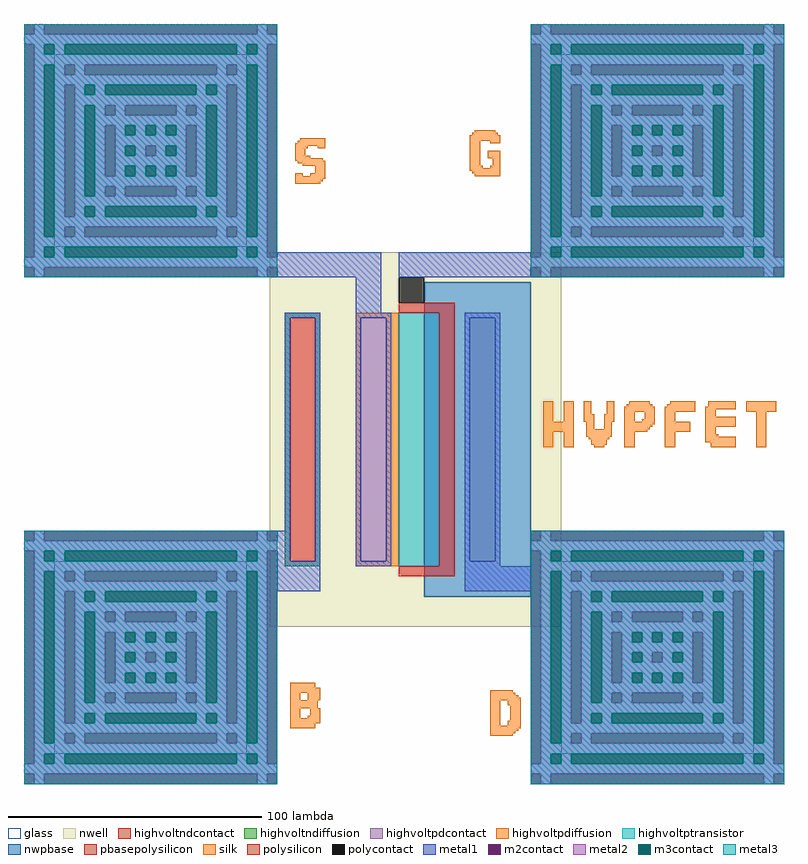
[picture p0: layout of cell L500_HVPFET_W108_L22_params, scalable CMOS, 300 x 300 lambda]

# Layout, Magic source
magic
tech scmos
<< nwell >>
rect 97 198 212 210
rect 97 74 158 198
rect 200 74 212 198
rect 97 62 212 74
<< polysilicon >>
rect 148 186 158 190
rect 148 82 158 86
<< pbasepolysilicon >>
rect 158 186 170 190
rect 164 86 170 186
rect 158 82 170 86
<< highvoltndiffusion >>
rect 103 184 117 186
rect 103 88 105 184
rect 115 88 117 184
rect 103 86 117 88
<< highvoltpdiffusion >>
rect 131 184 148 186
rect 131 88 133 184
rect 143 88 148 184
rect 131 86 148 88
<< metal1 >>
rect 100 200 141 210
rect 131 186 141 200
rect 148 200 200 210
rect 103 184 117 186
rect 103 100 105 184
rect 100 88 105 100
rect 115 88 117 184
rect 100 76 117 88
rect 131 184 145 186
rect 131 88 133 184
rect 143 88 145 184
rect 131 86 145 88
rect 174 184 188 186
rect 174 88 176 184
rect 186 88 188 184
rect 174 86 188 88
rect 174 76 200 86
<< highvoltptransistor >>
rect 148 86 164 186
<< nwpbase >>
rect 158 74 200 198
<< polycontact >>
rect 148 190 158 200
<< highvoltndcontact >>
rect 105 88 115 184
<< highvoltpdcontact >>
rect 133 88 143 184
rect 176 88 186 184
use L500_TPAD_blank  L500_TPAD_blank_2
transform 1 0 0 0 1 200
box 0 0 100 100
use L500_CHAR_s  L500_CHAR_s_0
transform 1 0 107 0 1 237
box 0 0 12 18
use L500_CHAR_g  L500_CHAR_g_0
transform 1 0 176 0 1 240
box 0 0 12 18
use L500_TPAD_blank  L500_TPAD_blank_3
transform 1 0 200 0 1 200
box 0 0 100 100
use L500_CHAR_h  L500_CHAR_h_0
transform 1 0 205 0 1 133
box 0 0 12 18
use L500_CHAR_v  L500_CHAR_v_0
transform 1 0 221 0 1 133
box 0 0 12 18
use L500_CHAR_p  L500_CHAR_p_0
transform 1 0 237 0 1 133
box 0 0 12 18
use L500_CHAR_f  L500_CHAR_f_0
transform 1 0 253 0 1 133
box 0 0 12 18
use L500_CHAR_e  L500_CHAR_e_0
transform 1 0 269 0 1 133
box 0 0 12 18
use L500_CHAR_t  L500_CHAR_t_0
transform 1 0 285 0 1 133
box 0 0 12 18
use L500_TPAD_blank  L500_TPAD_blank_0
transform 1 0 0 0 1 0
box 0 0 100 100
use L500_CHAR_b  L500_CHAR_b_0
transform 1 0 105 0 1 22
box 0 0 12 18
use L500_CHAR_d  L500_CHAR_d_0
transform 1 0 184 0 1 19
box 0 0 12 18
use L500_TPAD_blank  L500_TPAD_blank_1
transform 1 0 200 0 1 0
box 0 0 100 100
<< end >>

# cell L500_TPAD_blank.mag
magic
tech scmos
<< metal1 >>
rect 4 96 8 100
rect 92 96 96 100
rect 0 92 100 96
rect 4 84 96 92
rect 4 80 16 84
rect 20 80 24 84
rect 76 80 80 84
rect 84 80 96 84
rect 4 76 96 80
rect 4 24 16 76
rect 20 68 80 76
rect 20 64 32 68
rect 36 64 40 68
rect 60 64 64 68
rect 68 64 80 68
rect 20 60 80 64
rect 20 40 32 60
rect 36 52 64 60
rect 36 48 48 52
rect 52 48 64 52
rect 36 40 64 48
rect 68 40 80 60
rect 20 36 80 40
rect 20 32 32 36
rect 36 32 40 36
rect 60 32 64 36
rect 68 32 80 36
rect 20 24 80 32
rect 84 24 96 76
rect 4 20 96 24
rect 4 16 16 20
rect 20 16 24 20
rect 76 16 80 20
rect 84 16 96 20
rect 4 8 96 16
rect 0 4 100 8
rect 4 0 8 4
rect 92 0 96 4
<< metal2 >>
rect 4 96 8 100
rect 92 96 96 100
rect 0 92 100 96
rect 4 88 8 92
rect 12 88 16 92
rect 84 88 88 92
rect 92 88 96 92
rect 4 84 96 88
rect 4 16 8 84
rect 12 80 16 84
rect 20 80 24 84
rect 76 80 80 84
rect 84 80 88 84
rect 12 76 88 80
rect 12 24 16 76
rect 20 72 24 76
rect 28 72 32 76
rect 68 72 72 76
rect 76 72 80 76
rect 20 68 80 72
rect 20 32 24 68
rect 28 64 32 68
rect 36 64 40 68
rect 60 64 64 68
rect 68 64 72 68
rect 28 60 72 64
rect 28 40 32 60
rect 36 56 40 60
rect 44 56 48 60
rect 52 56 56 60
rect 60 56 64 60
rect 36 52 64 56
rect 36 48 40 52
rect 44 48 48 52
rect 52 48 56 52
rect 60 48 64 52
rect 36 44 64 48
rect 36 40 40 44
rect 44 40 48 44
rect 52 40 56 44
rect 60 40 64 44
rect 68 40 72 60
rect 28 36 72 40
rect 28 32 32 36
rect 36 32 40 36
rect 60 32 64 36
rect 68 32 72 36
rect 76 32 80 68
rect 20 28 80 32
rect 20 24 24 28
rect 28 24 32 28
rect 68 24 72 28
rect 76 24 80 28
rect 84 24 88 76
rect 12 20 88 24
rect 12 16 16 20
rect 20 16 24 20
rect 76 16 80 20
rect 84 16 88 20
rect 92 16 96 84
rect 4 12 96 16
rect 4 8 8 12
rect 12 8 16 12
rect 84 8 88 12
rect 92 8 96 12
rect 0 4 100 8
rect 4 0 8 4
rect 92 0 96 4
<< metal3 >>
rect 0 92 100 100
rect 0 88 8 92
rect 12 88 16 92
rect 84 88 88 92
rect 92 88 100 92
rect 0 84 100 88
rect 0 16 8 84
rect 12 76 88 84
rect 12 72 24 76
rect 28 72 32 76
rect 68 72 72 76
rect 76 72 88 76
rect 12 68 88 72
rect 12 32 24 68
rect 28 60 72 68
rect 28 56 40 60
rect 44 56 48 60
rect 52 56 56 60
rect 60 56 72 60
rect 28 52 72 56
rect 28 48 40 52
rect 44 48 56 52
rect 60 48 72 52
rect 28 44 72 48
rect 28 40 40 44
rect 44 40 48 44
rect 52 40 56 44
rect 60 40 72 44
rect 28 32 72 40
rect 76 32 88 68
rect 12 28 88 32
rect 12 24 24 28
rect 28 24 32 28
rect 68 24 72 28
rect 76 24 88 28
rect 12 16 88 24
rect 92 16 100 84
rect 0 12 100 16
rect 0 8 8 12
rect 12 8 16 12
rect 84 8 88 12
rect 92 8 100 12
rect 0 0 100 8
<< m2contact >>
rect 0 96 4 100
rect 8 96 92 100
rect 96 96 100 100
rect 0 8 4 92
rect 16 80 20 84
rect 24 80 76 84
rect 80 80 84 84
rect 16 24 20 76
rect 32 64 36 68
rect 40 64 60 68
rect 64 64 68 68
rect 32 40 36 60
rect 48 48 52 52
rect 64 40 68 60
rect 32 32 36 36
rect 40 32 60 36
rect 64 32 68 36
rect 80 24 84 76
rect 16 16 20 20
rect 24 16 76 20
rect 80 16 84 20
rect 96 8 100 92
rect 0 0 4 4
rect 8 0 92 4
rect 96 0 100 4
<< m3contact >>
rect 8 88 12 92
rect 16 88 84 92
rect 88 88 92 92
rect 8 16 12 84
rect 24 72 28 76
rect 32 72 68 76
rect 72 72 76 76
rect 24 32 28 68
rect 40 56 44 60
rect 48 56 52 60
rect 56 56 60 60
rect 40 48 44 52
rect 56 48 60 52
rect 40 40 44 44
rect 48 40 52 44
rect 56 40 60 44
rect 72 32 76 68
rect 24 24 28 28
rect 32 24 68 28
rect 72 24 76 28
rect 88 16 92 84
rect 8 8 12 12
rect 16 8 84 12
rect 88 8 92 12
<< glass >>
rect 12 12 88 88
<< end >>

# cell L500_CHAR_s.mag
magic
tech scmos
<< silk >>
rect 2 17 12 18
rect 1 16 12 17
rect 0 15 12 16
rect 0 14 5 15
rect 9 14 12 15
rect 0 11 4 14
rect 0 10 6 11
rect 0 9 11 10
rect 1 8 12 9
rect 3 7 12 8
rect 8 4 12 7
rect 0 3 3 4
rect 6 3 12 4
rect 0 2 12 3
rect 0 1 11 2
rect 0 0 10 1
<< end >>

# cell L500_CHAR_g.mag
magic
tech scmos
<< silk >>
rect 2 17 10 18
rect 1 16 11 17
rect 0 14 12 16
rect 0 4 4 14
rect 8 13 12 14
rect 7 7 12 10
rect 9 4 12 7
rect 0 3 5 4
rect 8 3 12 4
rect 0 2 12 3
rect 1 1 12 2
rect 2 0 12 1
<< end >>

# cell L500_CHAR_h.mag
magic
tech scmos
<< silk >>
rect 0 10 4 18
rect 8 10 12 18
rect 0 6 12 10
rect 0 0 4 6
rect 8 0 12 6
<< end >>

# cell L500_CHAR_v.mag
magic
tech scmos
<< silk >>
rect 0 13 3 18
rect 9 13 12 18
rect 0 10 4 13
rect 1 7 4 10
rect 8 10 12 13
rect 8 7 11 10
rect 1 4 11 7
rect 2 3 10 4
rect 3 1 9 3
rect 4 0 8 1
<< end >>

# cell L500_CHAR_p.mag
magic
tech scmos
<< silk >>
rect 2 17 10 18
rect 1 16 11 17
rect 0 14 12 16
rect 0 10 4 14
rect 8 11 12 14
rect 7 10 12 11
rect 0 9 12 10
rect 0 8 11 9
rect 0 7 10 8
rect 0 6 9 7
rect 0 0 4 6
<< end >>

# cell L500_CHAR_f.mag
magic
tech scmos
<< silk >>
rect 2 17 12 18
rect 1 16 12 17
rect 0 14 12 16
rect 0 10 4 14
rect 0 6 10 10
rect 0 0 4 6
<< end >>

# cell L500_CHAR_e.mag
magic
tech scmos
<< silk >>
rect 1 16 12 18
rect 0 15 12 16
rect 0 12 4 15
rect 0 8 12 12
rect 0 5 4 8
rect 0 4 5 5
rect 0 2 12 4
rect 2 0 12 2
<< end >>

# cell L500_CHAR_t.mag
magic
tech scmos
<< silk >>
rect 0 14 12 18
rect 4 0 8 14
<< end >>

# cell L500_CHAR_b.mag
magic
tech scmos
<< silk >>
rect 0 16 10 18
rect 0 14 12 16
rect 0 11 4 14
rect 7 11 12 14
rect 0 8 11 11
rect 0 4 4 8
rect 8 5 12 8
rect 7 4 12 5
rect 0 2 12 4
rect 0 0 10 2
<< end >>

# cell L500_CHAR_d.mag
magic
tech scmos
<< silk >>
rect 0 17 9 18
rect 0 16 10 17
rect 0 15 11 16
rect 0 14 12 15
rect 0 4 4 14
rect 7 12 12 14
rect 8 6 12 12
rect 7 4 12 6
rect 0 3 12 4
rect 0 2 11 3
rect 0 1 10 2
rect 0 0 9 1
<< end >>
